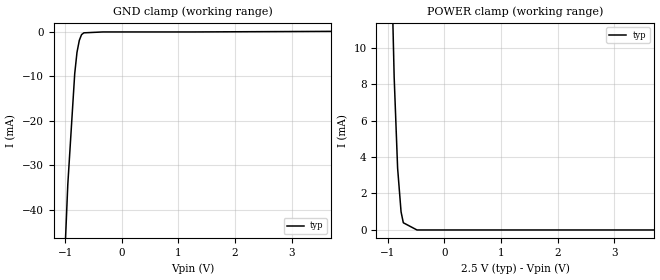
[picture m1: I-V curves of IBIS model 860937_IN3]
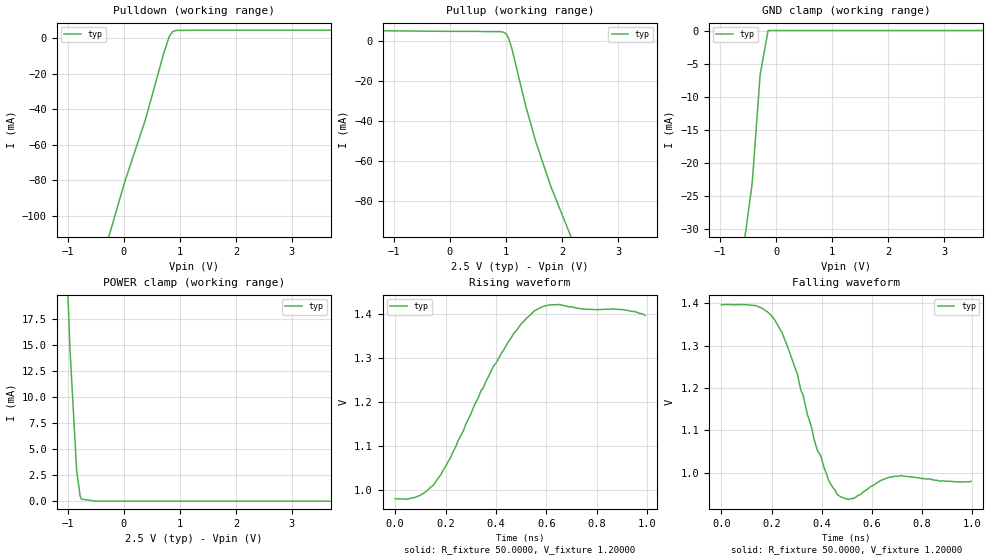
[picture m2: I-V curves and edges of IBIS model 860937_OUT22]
| COPYRIGHT(C) TERASPEED CONSULTING GROUP LLC
| 2003 ALL RIGHTS RESERVED. THIS WORK CONTAINS
| PROPRIETARY INFORMATION WHICH IS THE PROPERTY
| OF TERASPEED CONSULTING GROUP LLC OR ITS
| LICENSORS. USE OF THESE MATERIALS IS SUBJECT TO
| THE TERMS BELOW.
| USE: YOU MAY USE IBIS MODELS SOLELY FOR DEVELOPING
| PRINTED CIRCUIT BOARD DESIGNS. NO OTHER USE OR
| DISTRIBUTION OF THESE MATERIALS IS PERMITTED.
| DISCLAIMER OF WARRANTY:  UNLESS OTHERWISE AGREED
| IN WRITING, TERASPEED SOFTWARE AND ASSOCIATED
| FILES ARE PROVIDED "AS IS" AND WITHOUT WARRANTY.
| TERASPEED HAS NO OBLIGATION TO SUPPORT OR
| OTHERWISE MAINTAIN SOFTWARE.  TERASPEED MAKES
| NO WARRANTIES, EXPRESS OR IMPLIED WITH RESPECT TO
| SOFTWARE INCLUDING ANY WARRANTY OF MERCHANTABILITY
| OR FITNESS FOR A PARTICULAR PURPOSE.
| LIMITATION OF LIABILITY:  TERASPEED IS NOT LIABLE FOR
| ANY PROPERTY DAMAGE, PERSONAL INJURY, LOSS OF PROFITS,
| INTERRUPTION OF BUSINESS, OR FOR ANY OTHER SPECIAL,
| CONSEQUENTIAL OR INCIDENTAL DAMAGES, HOWEVER CAUSED,
| WHETHER FOR BREACH OF WARRANTY, CONTRACT, TORT
| (INCLUDING NEGLIGENCE), STRICT LIABILITY OR OTHERWISE.
| IN NO EVENT SHALL TERASPEED'S LIABILITY EXCEED THE AMOUNT
| PAID FOR THE PRODUCT GIVING RISE TO THE CLAIM.
| TRADEMARKS:  THE FOLLOWING ARE REGISTERED TRADEMARKS
| OR SERVICE MARKS OF TERASPEED CONSULTING GROUP LLC:
| TERASPEED CONSULTING GROUP LLC.
| ALL OTHER BRANDS AND PRODUCT NAMES ARE TRADEMARKS OF
| THEIR RESPECTIVE OWNERS.
| COPIES:  ALL COPIES OF SOFTWARE, INCLUDING BUT NOT LIMITED
| TO ANY MODIFICATIONS, ENHANCEMENTS OR DERIVATIVE WORKS
| MUST CONTAIN ALL TERASPEED'S NOTICES AND LEGENDS,
| INCLUDING THOSE EMBEDDED IN SOFTWARE AND THOSE AFFIXED
| TO THE SOFTWARE MEDIUM AND CONTAINER, AS RECEIVED FROM
| TERASPEED.
[IBIS Ver] 3.2
[File Name] mc100ep210sfa_lvd.ibs
[File Rev]  3.0
[Source] Measured and created by Teraspeed Consulting Group LLC
[Date]   09-25-2003
[Notes]  Quality Check of this IBIS model: Model Passes IBIS Check
   Model parses into ICX IS. Simulation done with Hyperlynx.
[Copyright]
| COPYRIGHT(C) TERASPEED CONSULTING GROUP LLC 2003
| ALL RIGHTS RESERVED. THIS WORK CONTAINS
| ROPRIETARY INFORMATION WHICH IS THE PROPERTY OF
| TERASPEED CONSULTING GROUP LLC OR ITS LICENSORS.
| USE OF THESE MATERIALS IS SUBJECT TO THE TERMS
| BELOW.
| USE: YOU MAY USE IBIS MODELS SOLELY FOR DEVELOPING
| PRINTED CIRCUIT BOARD DESIGNS. NO OTHER USE OR
| DISTRIBUTION OF THESE MATERIALS IS PERMITTED.
|  Teraspeed Spectrum Model Builder
[Component] MC100EP210SFA_LVD
[Manufacturer] OnSemiconductor
[Package]
| variable   typ   min   max
R_pkg  0.067ohms  0.067ohms  0.067ohms
L_pkg  4.211nH   4.211nH   4.211nH
C_pkg  1.002pF   1.002pF   1.002pF
[Pin] signal_name  model_name  R_pin  L_pin C_pin
1   VEE   GND   0.065  3.973n  0.928p
2   VTA   POWER   0.066  4.127n  0.978p
3   CLKA   860937_IN3   0.068  4.288n  1.027p
4   _CLKA  860937_IN4   0.069  4.455n  1.077p
5   VTB   POWER   0.069  4.455n  1.077p
6   CLKB   860937_IN3   0.068  4.288n  1.027p
7   _CLKB  860937_IN4   0.066  4.127n  0.978p
8   VEE   GND   0.065  3.973n  0.928p
9   VCC   POWER   0.065  3.973n  0.928p
10  _QB4   860937_OUT23  0.066  4.127n  0.978p
11  QB4   860937_OUT22  0.068  4.288n  1.027p
12  _QB3   860937_OUT23  0.069  4.455n  1.077p
13  QB3   860937_OUT22  0.069  4.455n  1.077p
14  _QB2   860937_OUT23  0.068  4.288n  1.027p
15  QB2   860937_OUT22  0.066  4.127n  0.978p
16  VCC   POWER   0.065  3.973n  0.928p
17  _QB1   860937_OUT23  0.065  3.973n  0.928p
18  QB1   860937_OUT22  0.066  4.127n  0.978p
19  _QB0   860937_OUT23  0.068  4.288n  1.027p
20  QB0   860937_OUT22  0.069  4.455n  1.077p
21  _QA4   860937_OUT23  0.069  4.455n  1.077p
22  QA4   860937_OUT22  0.068  4.288n  1.027p
23  _QA3   860937_OUT23  0.066  4.127n  0.978p
24  QA3   860937_OUT22  0.065  3.973n  0.928p
25  VCC   POWER   0.065  3.973n  0.928p
26  _QA2   860937_OUT23  0.066  4.127n  0.978p
27  QA2   860937_OUT22  0.068  4.288n  1.027p
28  _QA1   860937_OUT23  0.069  4.455n  1.077p
29  QA1   860937_OUT22  0.069  4.455n  1.077p
30  _QA0   860937_OUT23  0.068  4.288n  1.027p
31  QA0   860937_OUT22  0.066  4.127n  0.978p
32  VCC   POWER   0.065  3.973n  0.928p
[Diff Pin] inv_pin vdiff tdelay_typ tdelay_min tdelay_max
3  4  150mv NA   NA NA
6  7  150mv NA   NA NA
11 10 NA   0.035ns NA NA
13 12 NA   0.035ns NA NA
15 14 NA   0.035ns NA NA
18 17 NA   0.035ns NA NA
20 19 NA   0.035ns NA NA
22 21 NA   0.035ns NA NA
24 23 NA   0.035ns NA NA
27 26 NA   0.035ns NA NA
29 28 NA   0.035ns NA NA
31 30 NA   0.035ns NA NA
[Series Pin Mapping] pin_2  model_name  function_table_group
2   3   Series_50
2   4   Series_50
5   6   Series_50
5   7   Series_50
[Model]   Series_50
Model_type   Series
C_comp   0  0  0
[Voltage Range]  2.5   2.5   2.5
[R series]   50   43   57
| Models and submodels in the file (5): 860937_IN3 (Input_ECL), 860937_IN4 (Input_ECL), 860937_OUT22 (Output), 860937_OUT23 (Output), Series_50 (Series)
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[Model] 860937_IN3
Model_type Input_ECL
Vinl = 1.100V
Vinh = 1.250V
C_comp 600.0fF NA NA
| variable typ   min   max
[Voltage Range]   2.500V  NA  NA
[GND Clamp Reference]   0.000V  NA  NA
[POWER Clamp Reference]  2.500V  NA  NA
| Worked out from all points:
|   GND clamp passes 1 mA (typ) near -0.72 V on its own axis
|   POWER clamp passes 1 mA (typ) near -0.76 V on its own axis
[GND Clamp]
-2.5V     -590.6mA   NA         NA
-1.095V   -77.4mA    NA         NA
-953mV    -34.3mA    NA         NA
-831mV    -9.4mA     NA         NA
-791mV    -4.6mA     NA         NA
-750mV    -1.9mA     NA         NA
-710mV    -600uA     NA         NA
-669mV    -200uA     NA         NA
-334.5mV  0A         NA         NA
1.257V    0A         NA         NA
5V        200.8uA    NA         NA
[POWER Clamp]
-2.5V     314.9mA    NA         NA
-1.27V    69.57mA    NA         NA
-1.027V   27.08mA    NA         NA
-885mV    8.386mA    NA         NA
-824mV    3.389mA    NA         NA
-763mV    992.4uA    NA         NA
-723mV    394.5uA    NA         NA
-482mV    0A         NA         NA
5V        0A         NA         NA
[Model] 860937_OUT22
Model_type Output
Vref  = 1.2V
Rref  = 50.00ohms
Cref  = 0.000F
Vmeas = 1.2V
C_comp  600.0fF NA NA
| variable typ   min   max
[Voltage Range]   2.500V  NA  NA
[POWER Clamp Reference]  2.500V  NA  NA
[Pullup Reference]   2.500V  NA  NA
[Pulldown Reference]   0.000V  NA  NA
[GND Clamp Reference]   0.000V  NA  NA
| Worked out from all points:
|   slope of the pulldown table from 0 to 0.375 V, typ, clamps not added: 10.5 ohm
|   slope of the pullup table from 0 to 0.375 V, typ, clamps not added: 29 kohm
|   GND clamp passes 1 mA (typ) near -0.16 V on its own axis
|   POWER clamp passes 1 mA (typ) near -0.79 V on its own axis
|   rising waveform, R_fixture 50.0000, V_fixture 1.20000: 20-80 % time 215ps typ, NA min, NA max; typ from 0.98 V to 1.4 V
|   falling waveform, R_fixture 50.0000, V_fixture 1.20000: 20-80 % time 124ps typ, NA min, NA max; typ from 1.4 V to 0.98 V
[GND Clamp]
-2.5V     -153.6mA   NA         NA
-426mV    -23.05mA   NA         NA
-284mV    -6.673mA   NA         NA
-142mV    0A         NA         NA
0V        0A         NA         NA
5V        0A         NA         NA
[Pulldown]
-2.5V     -354.3mA   NA         NA
0V        -82.67mA   NA         NA
20mV      -80.5mA    NA         NA
385mV     -45.9mA    NA         NA
709mV     -8.9mA     NA         NA
811mV     1mA        NA         NA
872mV     3.7mA      NA         NA
912mV     4.2mA      NA         NA
953mV     4.4mA      NA         NA
1.115V    4.4mA      NA         NA
1.277V    4.5mA      NA         NA
5V        4.5mA      NA         NA
[Pullup]
-2.5V     5.229mA    NA         NA
884mV     4.5mA      NA         NA
965mV     4.1mA      NA         NA
1.005V    3.3mA      NA         NA
1.046V    1.2mA      NA         NA
1.107V    -4.2mA     NA         NA
1.349V    -32.4mA    NA         NA
1.532V    -50.6mA    NA         NA
1.795V    -72.6mA    NA         NA
5V        -296.8mA   NA         NA
[POWER Clamp]
-2.5V     299.5mA    NA         NA
-1.225V   55.59mA    NA         NA
-1.103V   35.02mA    NA         NA
-961mV    14.65mA    NA         NA
-840mV    2.88mA     NA         NA
-779mV    494.9uA    NA         NA
-759mV    199.9uA    NA         NA
-506mV    0A         NA         NA
0V        0A         NA         NA
5V        0A         NA         NA
[Rising Waveform]
R_fixture = 50.0000
V_fixture = 1.20000
0s        980mV      NA         NA
80ps      983mV      NA         NA
150ps     1.009V     NA         NA
220ps     1.073V     NA         NA
390ps     1.281V     NA         NA
470ps     1.355V     NA         NA
550ps     1.405V     NA         NA
650ps     1.421V     NA         NA
900ps     1.409V     NA         NA
990ps     1.396V     NA         NA
[Falling Waveform]
R_fixture = 50.0000
V_fixture = 1.20000
0s        1.396V     NA         NA
140.8ps   1.394V     NA         NA
211.2ps   1.362V     NA         NA
303.6ps   1.232V     NA         NA
369.6ps   1.078V     NA         NA
426.8ps   983.1mV    NA         NA
475.2ps   943.3mV    NA         NA
528ps     939.9mV    NA         NA
712.8ps   993.7mV    NA         NA
994.4ps   980mV      NA         NA
[Ramp]
| variable typ min max
dV/dt_r 249.680m/193.766p NA NA
dV/dt_f 249.680m/126.186p NA NA
R_load = 50.0000Ohms
